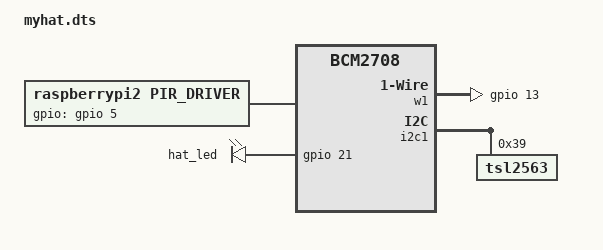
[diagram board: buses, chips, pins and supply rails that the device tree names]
/dts-v1/;
/plugin/;

/ {
    compatible = "brcm,bcm2708";
    exclusive-use = "13";

    fragment@0 {
        target = <&leds>;
        __overlay__ {
            my_led: myled {
                label = "hat_led";
                gpios = <&gpio 21 0>;
            };
        };
    };

    fragment@1 {
        target-path = "/";
        __overlay__ {
            w1: onewire@0 {
                compatible = "w1-gpio";
                pinctrl-names = "default";
                pinctrl-0 = <&w1_pins>;
                gpios = <&gpio 13 0>;
                rpi,parasitic-power = <0>;
                status = "okay";
            };
        };
    };

    fragment@2 {
        target = <&gpio>;
        __overlay__ {
            w1_pins: w1_pins {
                brcm,pins = <13>;
                brcm,function = <0>; // in out
                brcm,pull = <0>; // off off
            };
        };
    };

    fragment@3 {
        target = <&i2c1>;
        __overlay__ {
            tsl2563@39 {
                compatible = "tsl2563";
                reg = <0x39>;
                pinctrl-names = "default";
                status = "okay";
            };
        };
    };
    fragment@4 {
        target-path = "/";
        __overlay__ {
            pir_driver {
                compatible = "raspberrypi2,pir_driver";
                gpios = <&gpio 5 0>;
            };
        };
    };

};

